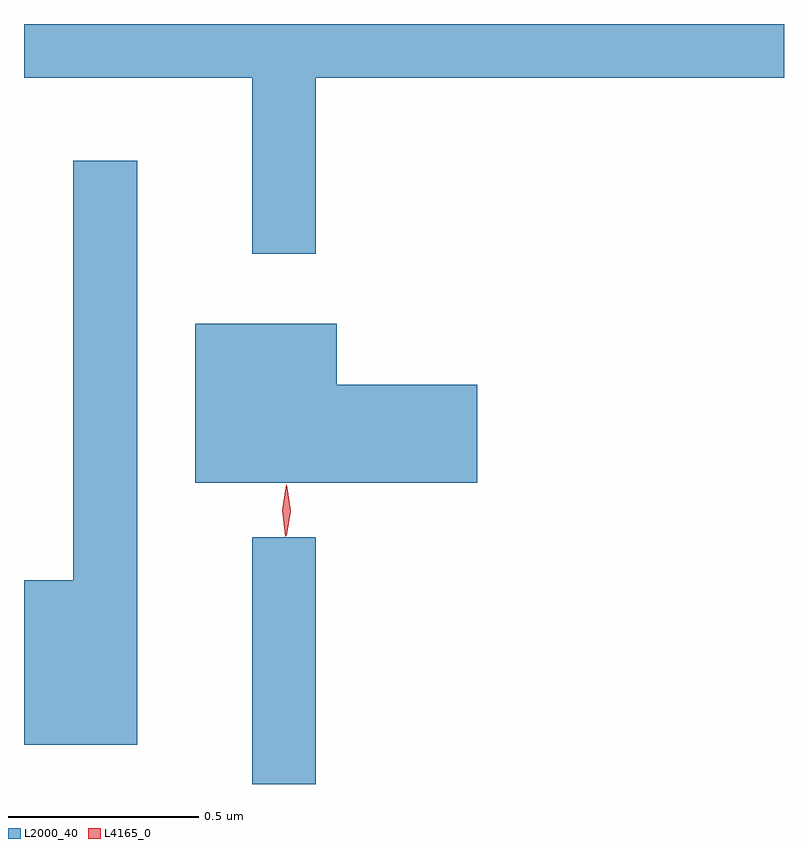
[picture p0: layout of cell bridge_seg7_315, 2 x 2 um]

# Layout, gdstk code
import gdstk
lib = gdstk.Library(unit=1e-6, precision=1e-09)
def R(c, l, rs):  # rectangles x0, y0, x1, y1
    for r in rs: c.add(gdstk.rectangle(r[:2], r[2:], *l))
def P(c, l, *ps):  # polygons
    for p in ps: c.add(gdstk.Polygon(p, *l))
L2000_40 = (2000, 40)
L4165_0 = (4165, 0)

bridge_seg7_315 = lib.new_cell('bridge_seg7_315')
R(bridge_seg7_315, L2000_40, [(1412.221,1790.158,1412.389,1790.808)])
P(bridge_seg7_315, L2000_40, [(1412.389,1792.016),(1413.621,1792.016),(1413.621,1792.158),(1411.621,1792.158),(1411.621,1792.016),(1412.221,1792.016),(1412.221,1791.553),(1412.389,1791.553)],
  [(1411.919,1791.798),(1411.751,1791.798),(1411.751,1790.694),(1411.621,1790.694),(1411.621,1790.261),(1411.919,1790.261)],
  [(1412.814,1791.209),(1412.444,1791.209),(1412.444,1791.369),(1412.071,1791.369),(1412.071,1790.951),(1412.814,1790.951)])
P(bridge_seg7_315, L4165_0, [(1412.311,1790.813),(1412.303,1790.876),(1412.313,1790.939),(1412.314,1790.94),(1412.314,1790.939),(1412.323,1790.876),(1412.312,1790.813),(1412.312,1790.813)],
  [(1412.309,1790.81),(1412.3,1790.878),(1412.311,1790.945),(1412.311,1790.946),(1412.312,1790.945),(1412.32,1790.878),(1412.31,1790.81),(1412.31,1790.81)])

lib.write_gds('bridge_seg7_315.gds')
